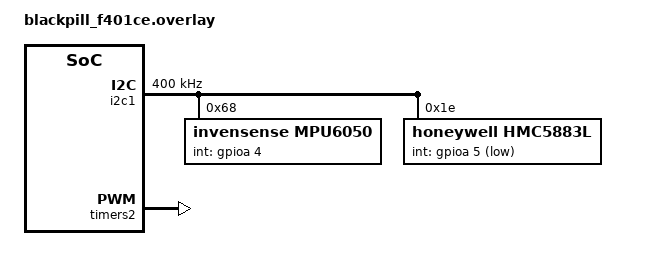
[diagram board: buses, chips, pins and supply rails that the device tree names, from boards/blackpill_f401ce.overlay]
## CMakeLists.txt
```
cmake_minimum_required(VERSION 3.13.1)
find_package(Zephyr REQUIRED HINTS $ENV{ZEPHYR_BASE})
project(antenna-tracker)

target_include_directories(app PRIVATE include)
target_include_directories(app PRIVATE extern/include)

target_sources(app PRIVATE src/util.c)
target_sources(app PRIVATE src/quaternion.c)
target_sources(app PRIVATE src/usb.c)
target_sources(app PRIVATE src/mavlink.c)
target_sources(app PRIVATE src/imu.c)
target_sources(app PRIVATE src/mag.c)
target_sources(app PRIVATE src/estimator.c)
target_sources(app PRIVATE src/pwmctrl.c)
target_sources(app PRIVATE src/attctrl.c)
target_sources(app PRIVATE src/main.c)
```

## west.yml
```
manifest:
  remotes:
    - name: upstream
      url-base: https://gitlab.com/amadoruavs
    - name: zephyr
      url-base: https://github.com/zephyrproject-rtos
    - name: mavlink
      url-base: https://github.com/mavlink

  projects:
    - name: zephyr
      remote: zephyr
      revision: master
      import: true
    - name: c_library_v2
      revision: master
      path: extern/include/mavlink
      remote: mavlink
  self:
    path: antenna-tracker
```

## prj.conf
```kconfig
# logging
CONFIG_LOG=y
CONFIG_LOG_PROCESS_TRIGGER_THRESHOLD=2
CONFIG_LOG_PROCESS_THREAD=y

# sensors/io
CONFIG_I2C=y
CONFIG_SENSOR=y
CONFIG_MPU6050=y
CONFIG_MPU6050_TRIGGER_NONE=y
#CONFIG_MPU6050_TRIGGER_GLOBAL_THREAD=y
CONFIG_HMC5883L=y
#CONFIG_HMC5883L_TRIGGER_NONE=y
CONFIG_HMC5883L_TRIGGER_GLOBAL_THREAD=y

# PWM
CONFIG_PWM=y
CONFIG_PWM_STM32=y

# USB
CONFIG_USB=y
CONFIG_USB_CDC_ACM=y
CONFIG_USB_DEVICE_MANUFACTURER="AmadorUAVs"
CONFIG_USB_DEVICE_PRODUCT="APS System"
CONFIG_USB_DEVICE_STACK=y
CONFIG_SERIAL=y
CONFIG_UART_INTERRUPT_DRIVEN=y
CONFIG_UART_LINE_CTRL=y

# FPU
CONFIG_FPU=y
CONFIG_CBPRINTF_FP_SUPPORT=y
CONFIG_NEWLIB_LIBC=y
CONFIG_NEWLIB_LIBC_FLOAT_PRINTF=y

CONFIG_HEAP_MEM_POOL_SIZE=16384
CONFIG_SYSTEM_WORKQUEUE_STACK_SIZE=16384
CONFIG_STACK_SENTINEL=y
```

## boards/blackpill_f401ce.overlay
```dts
/ {
	servos {
		compatible = "pwm-servos";

		altitude_servo: servo_0 {
			label = "SERVO_ALTITUDE";
			/* 50Hz servo RCPWM frequency = 20000 microsecond pulse width */
			pwms = <&pwm_altitude 1 20000 PWM_POLARITY_NORMAL>;
		};

		azimuth_servo: servo_1 {
			label = "SERVO_AZIMUTH";
			/* 50Hz servo RCPWM frequency = 20000 microsecond pulse width */
			pwms = <&pwm_azimuth 2 20000 PWM_POLARITY_NORMAL>;
		};
	};

	aliases {
		imu = &mpu6050;
		mag = &hmc5883l;
		alt = &altitude_servo;
		azm = &azimuth_servo;
	};
};

&i2c1 {
	status = "okay";
	clock-frequency = <I2C_BITRATE_FAST>;

	mpu6050: mpu6050@68 {
		compatible = "invensense,mpu6050";
		reg = <0x68>;
		status = "okay";
		label = "MPU6050";
		int-gpios = <&gpioa 4 GPIO_ACTIVE_HIGH>;
	};

	hmc5883l: hmc5883l@1e {
		compatible = "honeywell,hmc5883l";
		reg = <0x1E>;
		int-gpios = <&gpioa 5 GPIO_ACTIVE_LOW>;
		label = "HMC5883L";
	};
};

&timers2 {
	status = "okay";

	pwm_altitude: pwm_0 {
		compatible = "st,stm32-pwm";
		status = "okay";
		st,prescaler = <2>;
		label = "PWM_ALTITUDE";
		pinctrl-0 = <&tim2_ch1_pa0>;
		#pwm-cells = <3>;
	};

	pwm_azimuth: pwm_1 {
		compatible = "st,stm32-pwm";
		status = "okay";
		st,prescaler = <2>;
		label = "PWM_AZIMUTH";
		pinctrl-0 = <&tim2_ch2_pa1>;
		#pwm-cells = <3>;
	};
};
```

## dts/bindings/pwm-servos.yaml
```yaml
description: PWM servo

compatible: "pwm-servos"

child-binding:
  description: PWM servo child node
  properties:
    pwms:
      type: phandle-array
      required: true
    label:
      required: true
      type: string
      description: Human readable string describing the device (used as device_get_binding() argument)
```

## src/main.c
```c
#include <stdio.h>
#include <zephyr.h>
#include <logging/log.h>

#include "board.h"
#include "imu.h"
#include "mag.h"
#include "estimator.h"
#include "pwmctrl.h"
#include "attctrl.h"
#include "usb.h"
#include "mavlink.h"

LOG_MODULE_REGISTER(antenna_tracker, LOG_LEVEL_DBG);

#ifndef CONFIG_MPU6050_TRIGGER
#define IMU_POLL_STACK_SIZE 500
#define IMU_POLL_PRIORITY 0
K_THREAD_STACK_DEFINE(imu_poll_stack_area, IMU_POLL_STACK_SIZE);
struct k_thread imu_poll_thread_data;
k_tid_t imu_poll_tid;
#endif /* !CONFIG_MPU6050_TRIGGER */

#ifndef CONFIG_HMC5883L_TRIGGER
#define MAG_POLL_STACK_SIZE 500
#define MAG_POLL_PRIORITY 0
K_THREAD_STACK_DEFINE(mag_poll_stack_area, MAG_POLL_STACK_SIZE);
struct k_thread mag_poll_thread_data;
k_tid_t mag_poll_tid;
#endif /* !CONFIG_HMC5883L_TRIGGER */

K_MSGQ_DEFINE(pwmctrl_msgq, sizeof(struct motor_setpoint), 4, 16);
K_MSGQ_DEFINE(imu_msgq, sizeof(struct imu_sample), 4, 16);
K_MSGQ_DEFINE(mag_msgq, sizeof(struct mag_sample), 4, 16);
K_MSGQ_DEFINE(attitude_msgq, sizeof(struct attitude_frame), 4, 16);
K_MSGQ_DEFINE(command_msgq, sizeof(struct command_setpoint), 2, 32);

#define RING_BUF_SIZE 2048
uint8_t rx_ring_buffer[RING_BUF_SIZE];
struct ring_buf rx_ringbuf;
uint8_t tx_ring_buffer[RING_BUF_SIZE];
struct ring_buf tx_ringbuf;

void main(void)
{
	/* IMU setup */
	const struct device *mpu6050 = device_get_binding(IMU_LABEL);
	if (!mpu6050) {
		LOG_ERR("Failed to initialize device %s\n", IMU_LABEL);
		return;
	}

#ifdef CONFIG_MPU6050_TRIGGER
	int ret;
	ret = setup_mpu6050_trigger(mpu6050);
	if (ret != 0) {
		LOG_ERR("Unable to configure MPU6050 trigger: %d", ret);
		return;
	}
#endif

#ifndef CONFIG_MPU6050_TRIGGER
	imu_poll_tid = k_thread_create(&imu_poll_thread_data, imu_poll_stack_area,
			K_THREAD_STACK_SIZEOF(imu_poll_stack_area),
			imu_poll_thread_entry,
			(void *) mpu6050, (void *) &imu_msgq, NULL,
			IMU_POLL_PRIORITY, 0, K_NO_WAIT);
#endif

	/* mag setup */
	const struct device *hmc5883l = device_get_binding(MAG_LABEL);
	if (!hmc5883l) {
		LOG_ERR("Failed to initialize device %s\n", MAG_LABEL);
		return;
	}

#ifdef CONFIG_HMC5883L_TRIGGER
	int ret;
	ret = setup_hmc5883l_trigger(hmc5883l, &mag_msgq);
	if (ret != 0) {
		LOG_ERR("Unable to configure HMC5883L trigger: %d", ret);
		return;
	}
#endif

#ifndef CONFIG_HMC5883L_TRIGGER
	mag_poll_tid = k_thread_create(&mag_poll_thread_data, mag_poll_stack_area,
			K_THREAD_STACK_SIZEOF(mag_poll_stack_area),
			mag_poll_thread_entry,
			(void *) hmc5883l, (void *) &mag_msgq, NULL,
			MAG_POLL_PRIORITY, 0, K_NO_WAIT);
#endif

	/* initialize the attitude estimator */
	est_init(&imu_msgq, &mag_msgq, &attitude_msgq);

	pwmctrl_device_init(&pwmctrl_msgq);
	attctrl_init(&attitude_msgq, &pwmctrl_msgq, &command_msgq);

	const struct device *usb_dev = usb_init("CDC_ACM_0", &rx_ringbuf, &tx_ringbuf);
	if (!usb_dev) {
		LOG_ERR("Failed to initialize device %s", "CDC_ACM_0");
		return;
	}

	ring_buf_init(&rx_ringbuf, sizeof(rx_ring_buffer), rx_ring_buffer);
	ring_buf_init(&tx_ringbuf, sizeof(tx_ring_buffer), tx_ring_buffer);

	init_mavlink(usb_dev, &rx_ringbuf, &tx_ringbuf);

	struct command_setpoint setpoint = {
		.type = COMMAND_SETPOINT_TYPE_EULER,
		.data.euler[0] = 0,
		.data.euler[1] = 0,
		.data.euler[2] = 0,
	};

	while (1) {
		setpoint.data.euler[0] += 15;
		if (setpoint.data.euler[0] > 60) {
			setpoint.data.euler[0] = 0;
		}

		while (k_msgq_put(&command_msgq, &setpoint, K_NO_WAIT) != 0) {
			LOG_ERR("Dropping setpoint frames");
			k_msgq_purge(&command_msgq);
		}
		
		k_sleep(K_MSEC(2000));
	}
}
```

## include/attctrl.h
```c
#ifndef ATTCTRL_H
#define ATTCTRL_H

#include <zephyr.h>

struct pid_state {
	const float kp;
	const float ki;
	const float kd;

	float integral;
	float prev_error, cur_error;
	int64_t prev_time, cur_time;
};

enum command_setpoint_type {
	COMMAND_SETPOINT_TYPE_EULER = 0,
	COMMAND_SETPOINT_TYPE_QUATERNION = 1,
};

struct command_setpoint {
	enum command_setpoint_type type;

	union {
		float euler[3];
		float quaternion[4];
	} data;
};

void attctrl_init(struct k_msgq *imu_msgq, struct k_msgq *pwmctrl_msgq,
		struct k_msgq *command_msgq);

#endif /* ATTCTRL_H */
```

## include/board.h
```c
#ifndef BOARD_H
#define BOARD_H

#include <zephyr.h>
#include <device.h>

#define IMU_NODE DT_ALIAS(imu)
#if DT_NODE_HAS_STATUS(IMU_NODE, okay)
#define IMU_LABEL DT_LABEL(IMU_NODE)
#else
#error "Unsupported board."
#endif

#define MAG_NODE DT_ALIAS(mag)
#if DT_NODE_HAS_STATUS(MAG_NODE, okay)
#define MAG_LABEL DT_LABEL(MAG_NODE)
#else
#error "Unsupported board."
#endif

#define ALT_NODE DT_ALIAS(alt)
#if DT_NODE_HAS_STATUS(ALT_NODE, okay)
#define ALT_LABEL DT_PWMS_LABEL(ALT_NODE)
#define ALT_CHANNEL DT_PWMS_CHANNEL(ALT_NODE)
#define ALT_PERIOD DT_PWMS_PERIOD(ALT_NODE)
#define ALT_FLAGS DT_PWMS_FLAGS(ALT_NODE)
#else
#error "Unsupported board."
#endif

#define AZM_NODE DT_ALIAS(azm)
#if DT_NODE_HAS_STATUS(AZM_NODE, okay)
#define AZM_LABEL DT_PWMS_LABEL(AZM_NODE)
#define AZM_CHANNEL DT_PWMS_CHANNEL(AZM_NODE)
#define AZM_PERIOD DT_PWMS_PERIOD(AZM_NODE)
#define AZM_FLAGS DT_PWMS_FLAGS(AZM_NODE)
#else
#error "Unsupported board."
#endif

#endif /* BOARD_H */
```

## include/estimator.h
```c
#ifndef __ESTIMATOR_H
#define __ESTIMATOR_H

#include <zephyr.h>

struct attitude_frame {
	int64_t timestamp;
	float angle[3];
};

void est_init(struct k_msgq *imu_msgq, struct k_msgq * mag_msgq,
		struct k_msgq *attitude_msgq);

#endif /* __ESTIMATOR_H */
```

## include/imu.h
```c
#ifndef IMU_H
#define IMU_H

#include <zephyr.h>
#include <device.h>

struct imu_sample {
	int64_t timestamp;
	double accel[3];
	double gyro[3];
	double temp;
};

void init_imu(struct k_msgq *imu_msgq, struct k_msgq *attitude_msgq);
int process_imu(const struct device *dev, struct imu_sample *imu_sample);

#ifdef CONFIG_MPU6050_TRIGGER
int setup_mpu6050_trigger(const struct device *dev);
#endif

#ifndef CONFIG_MPU6050_TRIGGER
extern void imu_poll_thread_entry(void *, void *, void *);
#endif

#endif /* IMU_H */
```

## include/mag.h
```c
#ifndef __MAG_H
#define __MAG_H

static const float MAG_OFFSET_X = -0.282569;
static const float MAG_OFFSET_Y = -0.363303;
static const float MAG_OFFSET_Z = -0.325688;
static const float MAG_SCALE_X  =  1.125176;
static const float MAG_SCALE_Y  =  0.976801;
static const float MAG_SCALE_Z  =  0.919540;

struct mag_sample {
	int64_t timestamp;
	double magn[3];
};

void init_mag(struct k_msgq *imu_msgq, struct k_msgq *attitude_msgq);
int process_mag(const struct device *dev, struct mag_sample *mag_sample);

#ifndef CONFIG_HMC5883L_TRIGGER
int setup_hmc5883l_trigger(const struct device *dev, struct k_msgq *mag_msgq);
#endif

#ifndef CONFIG_HMC5883L_TRIGGER
extern void mag_poll_thread_entry(void *, void *, void *);
#endif

#endif /* __MAG_H */
```

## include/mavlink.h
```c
#ifndef __APS_MAVLINK_H
#define __APS_MAVLINK_H

#include <zephyr.h>
#include <device.h>
#include <sys/ring_buffer.h>

struct parse_mavlink_data {
	struct ring_buf *rx_ringbuf;
	struct ring_buf *tx_ringbuf;
	struct k_work work;
};

void init_mavlink(const struct device *usb_dev,
		struct ring_buf *rx_ringbuf, struct ring_buf *tx_ringbuf);
void parse_mavlink(struct k_work *item);
void mavlink_timer_start();
void mavlink_timer_stop();

#endif /* __APS_MAVLINK_H */
```

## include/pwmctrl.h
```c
#ifndef PWMCTRL_H
#define PWMCTRL_H

#include <zephyr.h>

enum motor {
	MOTOR_ALTITUDE = 0,
	MOTOR_AZIMUTH = 1,
};

struct motor_setpoint {
	enum motor motor;
	int16_t pwm;
};

void pwmctrl_device_init(struct k_msgq *msgq);

static const double PWM_MIN = 1000;
static const double PWM_CENTER = 1500;
static const double PWM_MAX = 2000;

#endif /* PWMCTRL_H */
```

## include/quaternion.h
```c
#ifndef __QUATERNION_H
#define __QUATERNION_H

void quat_to_euler(float *q, float *e);

#endif
```

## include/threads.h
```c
/* Enable/disable threads from running. Use ONLY for debugging */

#ifndef _THREAD_ENABLE_H
#define _THREAD_ENABLE_H

#define IMU_POLL_THREAD
#define PWMCTRL_THREAD
#define ATTCTRL_THREAD
#define USB_THREAD

#endif /* THREAD_ENABLE_H */
```

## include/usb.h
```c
#ifndef USB_H
#define USB_H

#include <zephyr.h>
#include <device.h>
#include <sys/ring_buffer.h>

void usb_interrupt_handler(const struct device *dev, void *user_data);

const struct device *usb_init(char *device_label,
		struct ring_buf *rx_ringbuf, struct ring_buf *tx_ringbuf);

#endif /* USB_H */
```

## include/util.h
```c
#ifndef UTIL_H
#define UTIL_H

float constrain(float value, float low, float high);

#endif /* UTIL_H */
```

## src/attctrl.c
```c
#include <stdio.h>
#include <zephyr.h>
#include <device.h>
#include <logging/log.h>

#include "util.h"
#include "pwmctrl.h"
#include "estimator.h"
#include "attctrl.h"

LOG_MODULE_REGISTER(attctrl, LOG_LEVEL_DBG);

#define ATTCTRL_STACK_SIZE 2000
#define ATTCTRL_PRIORITY 0

extern void attctrl_thread_entry(void *, void *, void *);

K_THREAD_STACK_DEFINE(attctrl_stack_area, ATTCTRL_STACK_SIZE);
struct k_thread attctrl_thread_data;

static struct pid_state altitude_pid = {
	.kp = .025,
	.ki = 0.00001,
	.kd = 0.00001,

	.integral = 0,
	.prev_error = 0,
	.cur_error = 0,
	.prev_time = 0,
	.cur_time = 0,
};

static struct pid_state azimuth_pid = {
	.kp = .025,
	.ki = 0.00001,
	.kd = 0.00001,

	.integral = 0,
	.prev_error = 0,
	.cur_error = 0,
	.prev_time = 0,
	.cur_time = 0,
};

void attctrl_init(struct k_msgq *attitude_msgq, struct k_msgq *pwmctrl_msgq,
		struct k_msgq *command_msgq)
{
	LOG_INF("Initializing attctrl interface");

	k_tid_t attctrl_tid = k_thread_create(&attctrl_thread_data, attctrl_stack_area,
										  K_THREAD_STACK_SIZEOF(attctrl_stack_area),
										  attctrl_thread_entry,
										  (void *) attitude_msgq, (void *) pwmctrl_msgq, 
										  (void *) command_msgq,
										  ATTCTRL_PRIORITY, 0, K_NO_WAIT);
}

/* 
 * Processes the latest frame through a pid controller, and returns
 * the next setpoint to apply. This function is generic and is used for both
 * the altitude and azimuth controllers.
 *
 * @param state the state information for the pid controller
 * @param input the latest sensor value (IMU angle, compass heading, etc)
 * 				normalized from -1..1
 * @return setpoint normalized from -1..1
 */
float pid_process(struct pid_state *state, float input, float target, int64_t cur_time)
{
	float setpoint;
	
	state->prev_error = state->cur_error;
	state->prev_time = state->cur_time;
	state->cur_time = cur_time;
	state->cur_error = (target - input);
	state->integral += state->cur_error;
	float dtime = ((double) (state->cur_time - state->prev_time)) / 1000.0;

	float p_term = state->kp * state->cur_error;
	float i_term = state->ki * state->integral;
	float d_term = state->kd * ((state->cur_error - state->prev_error) / (dtime));

	setpoint = p_term + i_term + d_term;

	/*printf("%f %f %f %f\n", p_term, i_term, d_term, setpoint);*/
	/*
	 * we *should* do better normalization, but for now just
	 * constrain the setpoint to [-1, 1] and make sure the gains
	 * are scaled correctly
	 */

	setpoint = constrain(setpoint, -1.0, 1.0);

	return setpoint;
}

void attctrl_thread_entry(void *arg1, void *arg2, void *arg3)
{
	LOG_INF("Starting attctrl thread");

	struct k_msgq *attitude_msgq = (struct k_msgq *) arg1;
	struct k_msgq *pwmctrl_msgq = (struct k_msgq *) arg2;
	struct k_msgq *command_msgq = (struct k_msgq *) arg3;

	struct motor_setpoint altitude_setpoint = {
		.motor = MOTOR_ALTITUDE,
	};
	struct motor_setpoint azimuth_setpoint = {
		.motor = MOTOR_AZIMUTH,
	};

	struct attitude_frame att_frame;
	k_msgq_get(attitude_msgq, &att_frame, K_FOREVER);
	altitude_pid.prev_time = att_frame.timestamp;

	float target_alt = 0, target_azm = 0;

	struct command_setpoint command_setpoint;

	while (1) {
		/* wait for an attitude frame */
		k_msgq_get(attitude_msgq, &att_frame, K_FOREVER);
		/* check if there's a new command setpoint (without waiting)
		 * but use the existing one if not */
		k_msgq_get(command_msgq, &command_setpoint, K_NO_WAIT);

		target_alt = command_setpoint.data.euler[0];
		target_azm = 0;//command_setpoint.data.euler[2];

		printf("Angle: %03.1f %03.1f %03.1f\n", att_frame.angle[0], att_frame.angle[1], att_frame.angle[2]);
		float alt_pid_setpoint = pid_process(&altitude_pid, att_frame.angle[0],
										 target_alt, att_frame.timestamp);

		/* scale the normalized setpoint value [-1, 1] to [PWM_MIN, PWM_MAX] */
		if (alt_pid_setpoint >= 0) {
			altitude_setpoint.pwm = (alt_pid_setpoint * (PWM_MAX - PWM_CENTER)) + PWM_CENTER;
		} else {
			altitude_setpoint.pwm = (alt_pid_setpoint * (PWM_CENTER - PWM_MIN)) + PWM_CENTER;
		}

		float azm_pid_setpoint = pid_process(&azimuth_pid, att_frame.angle[2],
				target_azm, att_frame.timestamp);

		/* scale the normalized setpoint value [-1, 1] to [PWM_MIN, PWM_MAX] */
		if (azm_pid_setpoint >= 0) {
			azimuth_setpoint.pwm = (azm_pid_setpoint * (PWM_MAX - PWM_CENTER)) + PWM_CENTER;
		} else {
			azimuth_setpoint.pwm = (azm_pid_setpoint * (PWM_CENTER - PWM_MIN)) + PWM_CENTER;
		}
		/*printf("(%f - %f) = %f; %f %d\n",target, att_frame.angle[0],*/
				/*(target - att_frame.angle[0]), pid_setpoint, altitude_setpoint.pwm);*/

		while (k_msgq_put(pwmctrl_msgq, &altitude_setpoint, K_NO_WAIT) != 0) {
			LOG_ERR("Dropping setpoint frames");
			k_msgq_purge(pwmctrl_msgq);
		}
		while (k_msgq_put(pwmctrl_msgq, &azimuth_setpoint, K_NO_WAIT) != 0) {
			LOG_ERR("Dropping setpoint frames");
			k_msgq_purge(pwmctrl_msgq);
		}
	}
}
```
